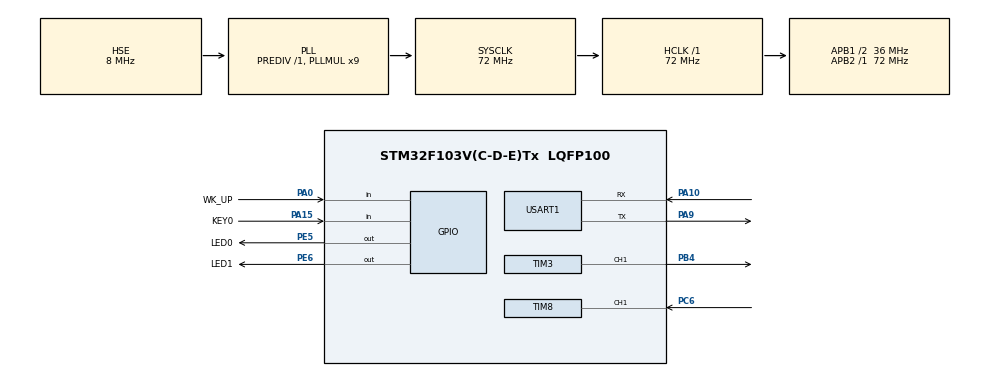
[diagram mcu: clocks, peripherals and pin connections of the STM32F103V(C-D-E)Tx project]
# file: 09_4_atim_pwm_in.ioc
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Mcu.Family=STM32F1
Mcu.Name=STM32F103V(C-D-E)Tx
Mcu.Package=LQFP100
NVIC.PriorityGroup=NVIC_PRIORITYGROUP_2
NVIC.TIM8_CC_IRQn=true\:2\:1\:true\:false\:true\:true\:true\:true
NVIC.TIM8_UP_IRQn=true\:2\:1\:true\:false\:true\:true\:true\:true
NVIC.USART1_IRQn=true\:2\:2\:true\:false\:true\:true\:true\:true
OSC_IN.Mode=HSE-External-Oscillator
OSC_IN.Signal=RCC_OSC_IN
OSC_OUT.Mode=HSE-External-Oscillator
OSC_OUT.Signal=RCC_OSC_OUT
PA0-WKUP.GPIO_Label=WK_UP
PA0-WKUP.GPIO_PuPd=GPIO_PULLDOWN
PA0-WKUP.Signal=GPIO_Input
PA10.Mode=Asynchronous
PA10.Signal=USART1_RX
PA13.Mode=Serial_Wire
PA13.Signal=SYS_JTMS-SWDIO
PA14.Mode=Serial_Wire
PA14.Signal=SYS_JTCK-SWCLK
PA15.GPIO_Label=KEY0
PA15.GPIO_PuPd=GPIO_PULLDOWN
PA15.Signal=GPIO_Input
PA9.Mode=Asynchronous
PA9.Signal=USART1_TX
PB4.GPIO_ModeDefaultPP=GPIO_MODE_AF_PP
PB4.Signal=S_TIM3_CH1
PC14-OSC32_IN.Mode=LSE-External-Oscillator
PC14-OSC32_IN.Signal=RCC_OSC32_IN
PC15-OSC32_OUT.Mode=LSE-External-Oscillator
PC15-OSC32_OUT.Signal=RCC_OSC32_OUT
PC6.GPIO_PuPd=GPIO_PULLDOWN
PC6.Signal=S_TIM8_CH1
PE5.GPIO_Label=LED0
PE5.GPIO_PuPd=GPIO_PULLUP
PE5.GPIO_Speed=GPIO_SPEED_FREQ_HIGH
PE5.PinState=GPIO_PIN_SET
PE5.Signal=GPIO_Output
PE6.GPIO_Label=LED1
PE6.GPIO_PuPd=GPIO_PULLUP
PE6.GPIO_Speed=GPIO_SPEED_FREQ_HIGH
PE6.PinState=GPIO_PIN_SET
PE6.Signal=GPIO_Output
ProjectManager.HeapSize=0x200
ProjectManager.StackSize=0x400
ProjectManager.TargetToolchain=STM32CubeIDE
RCC.AHBFreq_Value=72000000
RCC.APB1CLKDivider=RCC_HCLK_DIV2
RCC.APB1Freq_Value=36000000
RCC.APB1TimFreq_Value=72000000
RCC.APB2Freq_Value=72000000
RCC.APB2TimFreq_Value=72000000
RCC.HCLKFreq_Value=72000000
RCC.PLLMUL=RCC_PLL_MUL9
RCC.PLLSourceVirtual=RCC_PLLSOURCE_HSE
RCC.SYSCLKFreq_VALUE=72000000
RCC.SYSCLKSource=RCC_SYSCLKSOURCE_PLLCLK
RCC.USBFreq_Value=72000000
SH.S_TIM3_CH1.0=TIM3_CH1,PWM Generation1 CH1
SH.S_TIM8_CH1.0=TIM8_CH1,TriggerSource_TI1FP1
SH.S_TIM8_CH1.1=TIM8_CH1,Input_Capture1_from_TI1
TIM3.AutoReloadPreload=TIM_AUTORELOAD_PRELOAD_ENABLE
TIM3.Channel-PWM\ Generation1\ CH1=TIM_CHANNEL_1
TIM3.OCPolarity_1=TIM_OCPOLARITY_LOW
TIM3.Period=100-1
TIM3.Prescaler=72-1
TIM3.Pulse-PWM\ Generation1\ CH1=50
TIM8.AutoReloadPreload=TIM_AUTORELOAD_PRELOAD_ENABLE
TIM8.Channel-Input_Capture1_from_TI1=TIM_CHANNEL_1
TIM8.Channel-Input_Capture2_from_TI1_63=TIM_CHANNEL_2
TIM8.ICPolarity_CH2=TIM_INPUTCHANNELPOLARITY_FALLING
USART1.VirtualMode=VM_ASYNC
VP_TIM3_VS_ClockSourceINT.Mode=Internal
VP_TIM8_VS_ClockSourceINT.Mode=Internal
VP_TIM8_VS_ControllerModeReset.Mode=Reset Mode
VP_TIM8_VS_indirect_ch1.Mode=Input_Capture2_from_TI1_63
board=custom

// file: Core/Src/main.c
/* USER CODE BEGIN Header */
/**
 ****************************************************************************************************
 * @file        main.c
 * @author      ALIENTEK
 * @brief       Advanced timer PWM input code
 * @license     Copyright (C) 2012-2024, ALIENTEK
 ****************************************************************************************************
 * @attention
 *
 * platform     : ALIENTEK M100-STM32F103 board
 * website      : www.alientek.com
 * forum        : www.openedv.com/forum.php
 *
 * change logs  :
 * version      data         notes
 * V1.0         20240409     the first version
 *
 ****************************************************************************************************
 */
/* USER CODE END Header */
#include "main.h"
#include "tim.h"
#include "usart.h"
#include "gpio.h"

/* USER CODE BEGIN Includes */
#include "stdio.h"
#include "../../BSP/LED/led.h"
#include "../../BSP/KEY/key.h"
/* USER CODE END Includes */

void SystemClock_Config(void);
/* USER CODE BEGIN PFP */
extern uint8_t g_timxchy_pwmin_sta;    /* PWM input status. */
extern uint16_t g_timxchy_pwmin_psc;   /* PWM input frequency division coefficient. */
extern uint32_t g_timxchy_pwmin_hval;  /* High level pulse width of PWM. */
extern uint32_t g_timxchy_pwmin_cval;  /* PWM cycle width. */
/* USER CODE END PFP */

/* USER CODE BEGIN 0 */
/**
 * @brief   Displays information about the experiment
 * @param   None
 * @retval  None
 */
void stm32f103ve_show_mesg(void)
{
  /* The serial port outputs the experimental information */
  printf("\n");
  printf("********************************\r\n");
  printf("STM32F103\r\n");
  printf("ATIM PWM intput Test\r\n");
  printf("ATOM@ALIENTEK\r\n");
  printf("********************************\r\n");
  printf("\r\n");
}
/* USER CODE END 0 */

int main(void)
{
  /* USER CODE BEGIN 1 */
  uint8_t t = 0;
  float ht, ct, f, tpsc;
  /* USER CODE END 1 */

  /* MCU Configuration--------------------------------------------------------*/

  /* Reset of all peripherals, Initializes the Flash interface and the Systick. */
  HAL_Init();

  /* Configure the system clock */
  SystemClock_Config();

  /* Initialize all configured peripherals */
  MX_GPIO_Init();
  MX_USART1_UART_Init();
  MX_TIM3_Init();
  MX_TIM8_Init();
  /* USER CODE BEGIN 2 */
  stm32f103ve_show_mesg();
  /* USER CODE END 2 */

  /* Infinite loop */
  /* USER CODE BEGIN WHILE */
  while (1)
  {
    t++;
    HAL_Delay(10);  /* delay 10ms */

    if (t >= 20)    /* The results are output every 200ms, and the LED0 is blinked to prompt the program to run. */
    {
      if (g_timxchy_pwmin_sta)    /* The data is captured once */
      {
        printf("\r\n");                                     /* The output is blank, and another line begins */
        printf("PWM PSC  :%u\r\n", g_timxchy_pwmin_psc);    /* Print the frequency division coefficients */
        printf("PWM Hight:%lu\r\n", g_timxchy_pwmin_hval);  /* Print high level pulse width */
        printf("PWM Cycle:%lu\r\n", g_timxchy_pwmin_cval);  /* Print cycle */

        tpsc = ((double)g_timxchy_pwmin_psc + 1) / 72;      /* The PWM sampling clock cycle time is obtained */
        ht = g_timxchy_pwmin_hval * tpsc;                   /* Calculate the high level time */
        ct = g_timxchy_pwmin_cval * tpsc;                   /* Calculating cycle length */
        f = (1 / ct) * 1000000;                             /* Calculated rate */

        printf("PWM Hight time:%.3fus\r\n", ht);            /* Print high level pulse width length */
        printf("PWM Cycle time:%.3fus\r\n", ct);            /* Print cycle time length */
        printf("PWM Frequency :%.3fHz\r\n", f);             /* Print frequency */

        atim_timx_pwmin_chy_restart();                      /* Restart PWM input detection */
      }

      LED0_TOGGLE();                                        /* LED0 blinks to indicate that the program is running */
      t = 0;
    }
    /* USER CODE END WHILE */

  }
}

void SystemClock_Config(void)
{
  RCC_OscInitTypeDef RCC_OscInitStruct = {0};
  RCC_ClkInitTypeDef RCC_ClkInitStruct = {0};

  /** Initializes the RCC Oscillators according to the specified parameters
  * in the RCC_OscInitTypeDef structure.
  */
  RCC_OscInitStruct.OscillatorType = RCC_OSCILLATORTYPE_HSE;
  RCC_OscInitStruct.HSEState = RCC_HSE_ON;
  RCC_OscInitStruct.HSEPredivValue = RCC_HSE_PREDIV_DIV1;
  RCC_OscInitStruct.HSIState = RCC_HSI_ON;
  RCC_OscInitStruct.PLL.PLLState = RCC_PLL_ON;
  RCC_OscInitStruct.PLL.PLLSource = RCC_PLLSOURCE_HSE;
  RCC_OscInitStruct.PLL.PLLMUL = RCC_PLL_MUL9;
  if (HAL_RCC_OscConfig(&RCC_OscInitStruct) != HAL_OK)
  {
    Error_Handler();
  }

  /** Initializes the CPU, AHB and APB buses clocks
  */
  RCC_ClkInitStruct.ClockType = RCC_CLOCKTYPE_HCLK|RCC_CLOCKTYPE_SYSCLK
                              |RCC_CLOCKTYPE_PCLK1|RCC_CLOCKTYPE_PCLK2;
  RCC_ClkInitStruct.SYSCLKSource = RCC_SYSCLKSOURCE_PLLCLK;
  RCC_ClkInitStruct.AHBCLKDivider = RCC_SYSCLK_DIV1;
  RCC_ClkInitStruct.APB1CLKDivider = RCC_HCLK_DIV2;
  RCC_ClkInitStruct.APB2CLKDivider = RCC_HCLK_DIV1;

  if (HAL_RCC_ClockConfig(&RCC_ClkInitStruct, FLASH_LATENCY_2) != HAL_OK)
  {
    Error_Handler();
  }
}

void Error_Handler(void)
{
  __disable_irq();
  while (1)
  {
  }
}
